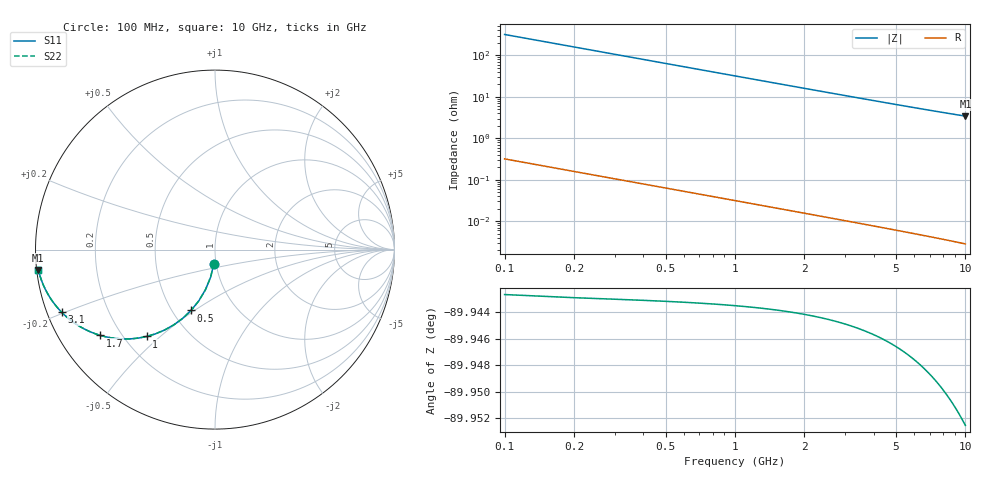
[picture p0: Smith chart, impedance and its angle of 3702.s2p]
# Hz S RI R 50.00
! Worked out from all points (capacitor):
!   100 points, 100 MHz to 10 GHz, reference 50 ohm
!   read as one part in shunt: C = 4.99 pF near 100 MHz
!   lowest |Z| = 3.43 ohm at 10 GHz (marker M1)
!   S11 on the Smith chart (normalised r, x): 100 MHz: 0.98, -0.15; 500 MHz: 0.62, -0.48; 1 GHz: 0.29, -0.45; 1.7 GHz: 0.12, -0.33; 3.1 GHz: 0.04, -0.20; 10 GHz: 0.00, -0.06
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1e8  -0.00617 -0.0778  0.9938 -0.078  0.9938 -0.078  -0.00617 -0.0778
2e8  -0.0241 -0.1528  0.9758 -0.1532  0.9758 -0.1532  -0.0241 -0.1528
3e8  -0.0526 -0.2225  0.9474 -0.2231  0.9474 -0.2231  -0.0526 -0.2225
4e8  -0.0897 -0.2849  0.9102 -0.2858  0.9102 -0.2858  -0.0897 -0.2849
5e8  -0.1334 -0.339  0.8666 -0.34  0.8666 -0.34  -0.1334 -0.339
6e8  -0.1813 -0.3842  0.8186 -0.3854  0.8186 -0.3854  -0.1813 -0.3842
7e8  -0.2315 -0.4206  0.7684 -0.422  0.7684 -0.422  -0.2315 -0.4206
8e8  -0.2823 -0.4488  0.7177 -0.4504  0.7177 -0.4504  -0.2823 -0.4488
1e9  -0.3803 -0.4839  0.6196 -0.486  0.6196 -0.486  -0.3803 -0.4839
1.3e9  -0.5088 -0.4981  0.4912 -0.5008  0.4912 -0.5008  -0.5088 -0.4981
1.5e9  -0.5794 -0.4916  0.4205 -0.4947  0.4205 -0.4947  -0.5794 -0.4916
1.7e9  -0.6387 -0.4781  0.3612 -0.4816  0.3612 -0.4816  -0.6387 -0.4781
1.8e9  -0.6646 -0.4697  0.3354 -0.4735  0.3354 -0.4735  -0.6646 -0.4697
2.1e9  -0.7293 -0.4416  0.2707 -0.446  0.2707 -0.446  -0.7293 -0.4416
2.4e9  -0.7785 -0.4122  0.2215 -0.4173  0.2215 -0.4173  -0.7785 -0.4122
3.1e9  -0.8541 -0.3492  0.1459 -0.3558  0.1459 -0.3558  -0.8541 -0.3492
3.4e9  -0.8755 -0.3259  0.1244 -0.3332  0.1244 -0.3332  -0.8755 -0.3259
4.2e9  -0.9147 -0.2743  0.0852 -0.2832  0.0852 -0.2832  -0.9147 -0.2743
5.1e9  -0.9405 -0.2304  0.0594 -0.2414  0.0594 -0.2414  -0.9405 -0.2304
6.7e9  -0.9648 -0.1764  0.0351 -0.191  0.0351 -0.191  -0.9648 -0.1764
8.4e9  -0.9774 -0.1384  0.0224 -0.1569  0.0224 -0.1569  -0.9774 -0.1384
1e10  -0.9841 -0.1129  0.0156 -0.1351  0.0156 -0.1351  -0.9841 -0.1129
